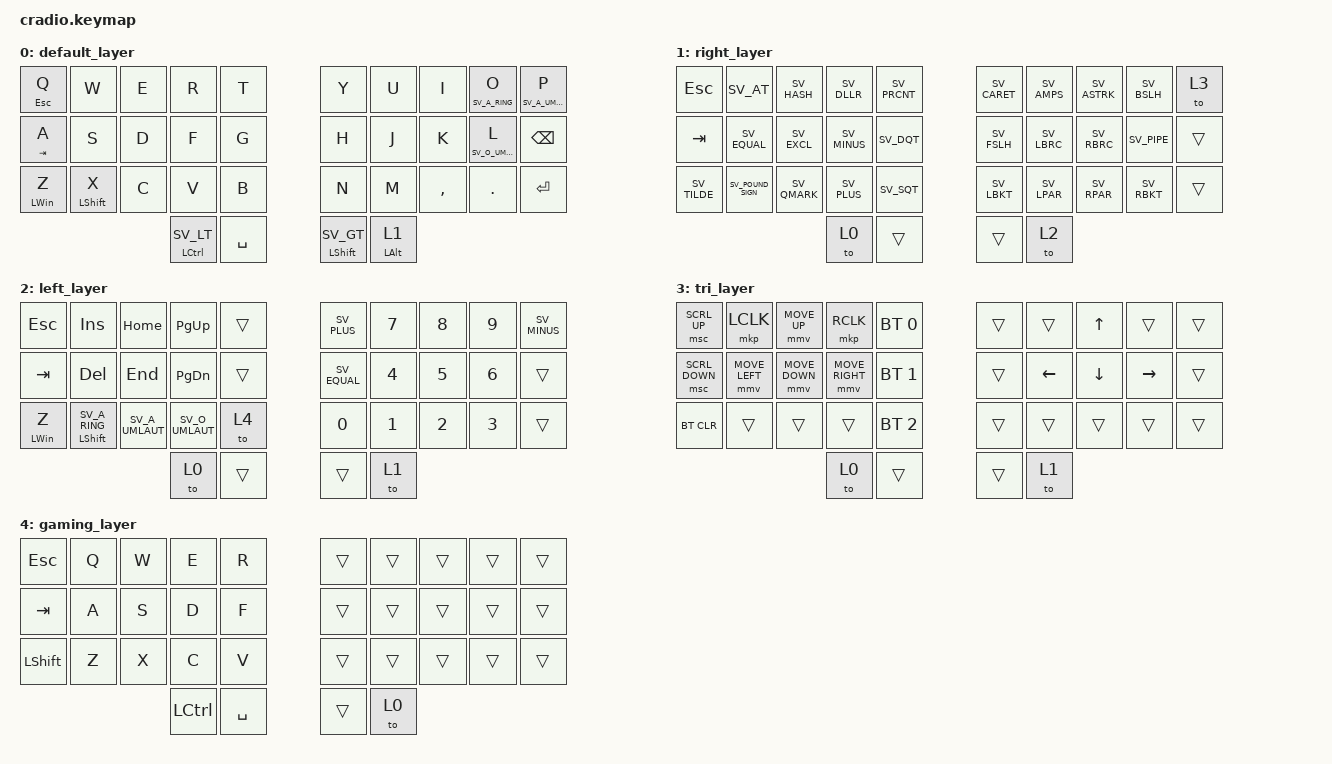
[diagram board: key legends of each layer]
// Copyright (c) 2022 The ZMK Contributors
// SPDX-License-Identifier: MIT

#include "keys_sv.h"
#include <behaviors.dtsi>
#include <input/processors.dtsi>
#include <dt-bindings/zmk/keys.h>
#include <dt-bindings/zmk/bt.h>
#include <dt-bindings/zmk/mouse.h>
#include <dt-bindings/zmk/pointing.h>

/ {
    behaviors {
        ht: tapdance {
            compatible = "zmk,behavior-hold-tap";
            label = "TAPDANCE";
            flavor = "tap-preferred";
            #binding-cells = <2>;
            tapping-term-ms = <150>;
            quick-tap-ms = <0>;
            bindings = <&kp>, <&kp>;
        };
        ll: long_layer {
            compatible = "zmk,behavior-hold-tap";
            label = "LONG_LAYER";
            flavor = "tap-preferred";
            #binding-cells = <2>;
            tapping-term-ms = <150>;
            quick-tap-ms = <0>;
            bindings = <&kp>, <&to>;
        };
    };

    keymap {
        compatible = "zmk,keymap";
        default_layer {
            bindings = <
        //╭────────────┬──────────────┬──────────┬─────────────────┬───────────╮   ╭──────────────────┬──────────┬───────────┬───────────────────┬────────────────────╮
        //│  Q (ESC)   │  W           │  E       │  R              │  T        │   │  Y               │  U       │  I        │  O (Å)            │  P (Ä)             │
            &mt ESC Q    &kp W          &kp E      &kp R             &kp T           &kp Y             &kp U      &kp I       &mt SV_A_RING O      &mt SV_A_UMLAUT P
        //├────────────┼──────────────┼──────────┼─────────────────┼───────────┤   ├──────────────────┼──────────┼───────────┼───────────────────┼────────────────────┤
        //│  A         │  S           │  D       │  F              │  G        │   │  H               │  J       │  K        │  L (Ö)            │                    │
            &mt TAB A    &kp S          &kp D      &kp F             &kp G           &kp H             &kp J      &kp K       &mt SV_O_UMLAUT L      &kp BSPC
        //├────────────┼──────────────┼──────────┼─────────────────┼───────────┤   ├──────────────────┼──────────┼───────────┼───────────────────┼────────────────────┤
        //│  Z         │  X           │  C       │  V              │  B        │   │  N               │  M       │  ,        │  .                │                    │
            &mt LWIN Z   &mt LSHIFT X   &kp C      &kp V             &kp B           &kp N             &kp M      &kp COMMA   &kp DOT                &kp ENTER
        //╰────────────┴──────────────┴──────────┼─────────────────┼───────────┤   ├──────────────────┼──────────┼───────────┴───────────────────┴────────────────────╯
                                                   &mt LCTRL SV_LT   &kp SPACE       &mt LSHIFT SV_GT  &ll LALT 1
        //                                       ╰─────────────────┴───────────╯   ╰──────────────────┴──────────╯
            >;
        };

        right_layer {
            bindings = <
        //╭──────────────┬───────────────────┬──────────────┬──────────────┬──────────────╮   ╭──────────────┬─────────────┬──────────────┬─────────────┬──────────╮
        //│  ESC         │  @                │  #           │  $           │  %           │   │  CARET       │  &          │  *           │  \          │          │
            &kp ESC        &kp SV_AT           &kp SV_HASH    &kp SV_DLLR    &kp SV_PRCNT       &kp SV_CARET   &kp SV_AMPS   &kp SV_ASTRK   &kp SV_BSLH   &to 3
        //├──────────────┼───────────────────┼──────────────┼──────────────┼──────────────┤   ├──────────────┼─────────────┼──────────────┼─────────────┼──────────┤
        //│  TAB         │  =                │  !           │  -           │  "           │   │  /           │  {          │  }           │  |          │          │
            &kp TAB        &kp SV_EQUAL        &kp SV_EXCL    &kp SV_MINUS   &kp SV_DQT         &kp SV_FSLH    &kp SV_LBRC   &kp SV_RBRC    &kp SV_PIPE   &trans
        //├──────────────┼───────────────────┼──────────────┼──────────────┼──────────────┤   ├──────────────┼─────────────┼──────────────┼─────────────┼──────────┤
        //│  ~           │  £                │  ?           │  +           │  '           │   │  [           │  (          │  )           │  ]          │          │
            &kp SV_TILDE   &kp SV_POUND_SIGN   &kp SV_QMARK   &kp SV_PLUS    &kp SV_SQT         &kp SV_LBKT    &kp SV_LPAR   &kp SV_RPAR    &kp SV_RBKT   &trans
        //╰──────────────┴───────────────────┴──────────────┼──────────────┼──────────────┤   ├──────────────┼─────────────┼──────────────┴─────────────┴──────────╯
                                                              &to 0          &trans             &trans         &to 2
        //                                                  ╰──────────────┴──────────────╯   ╰──────────────┴─────────────╯
            >;
        };

        left_layer {
            bindings = <
        //╭────────────┬──────────────────────┬─────────────────┬─────────────────┬──────────╮   ╭──────────────┬──────────┬──────────┬──────────┬──────────────╮
        //│  ESC       │                      │                 │                 │          │   │  +           │  7       │  8       │  9       │  -           │
            &kp ESC      &kp INS                &kp HOME          &kp PG_UP         &trans         &kp SV_PLUS    &kp N7     &kp N8     &kp N9     &kp SV_MINUS
        //├────────────┼──────────────────────┼─────────────────┼─────────────────┼──────────┤   ├──────────────┼──────────┼──────────┼──────────┼──────────────┤
        //│  TAB       │                      │                 │                 │          │   │  =           │  4       │  5       │  6       │              │
            &kp TAB      &kp DEL                &kp END           &kp PG_DN         &trans         &kp SV_EQUAL   &kp N4     &kp N5     &kp N6     &trans
        //├────────────┼──────────────────────┼─────────────────┼─────────────────┼──────────┤   ├──────────────┼──────────┼──────────┼──────────┼──────────────┤
        //│  SUPER     │  Å                   │  Ä              │  Ö              │          │   │  0           │  1       │  2       │  3       │              │
            &mt LWIN Z   &mt LSHIFT SV_A_RING   &kp SV_A_UMLAUT   &kp SV_O_UMLAUT   &to 4          &kp N0         &kp N1     &kp N2     &kp N3     &trans
        //╰────────────┴──────────────────────┴─────────────────┼─────────────────┼──────────┤   ├──────────────┼──────────┼──────────┴──────────┴──────────────╯
                                                                  &to 0             &trans         &trans         &to 1
        //                                                      ╰─────────────────┴──────────╯   ╰──────────────┴──────────╯
            >;
        };

        tri_layer {
            bindings = <
        //╭────────────────┬────────────────┬────────────────┬─────────────────┬──────────────╮   ╭────────┬──────────┬──────────┬───────────┬────────╮
        //│                │                │                │                 │  PROFILE 0   │   │        │          │          │           │        │
            &msc SCRL_UP     &mkp LCLK        &mmv MOVE_UP     &mkp RCLK         &bt BT_SEL 0       &trans   &trans     &kp UP     &trans      &trans
        //├────────────────┼────────────────┼────────────────┼─────────────────┼──────────────┤   ├────────┼──────────┼──────────┼───────────┼────────┤
        //│                │                │                │                 │  PROFILE 1   │   │        │          │          │           │        │
            &msc SCRL_DOWN   &mmv MOVE_LEFT   &mmv MOVE_DOWN   &mmv MOVE_RIGHT   &bt BT_SEL 1       &trans   &kp LEFT   &kp DOWN   &kp RIGHT   &trans
        //├────────────────┼────────────────┼────────────────┼─────────────────┼──────────────┤   ├────────┼──────────┼──────────┼───────────┼────────┤
        //│  CLEAR BT      │                │                │                 │  PROFILE 2   │   │        │          │          │           │        │
            &bt BT_CLR       &trans           &trans           &trans            &bt BT_SEL 2       &trans   &trans     &trans     &trans      &trans
        //╰────────────────┴────────────────┴────────────────┼─────────────────┼──────────────┤   ├────────┼──────────┼──────────┴───────────┴────────╯
                                                               &to 0             &trans             &trans   &to 1
        //                                                   ╰─────────────────┴──────────────╯   ╰────────┴──────────╯
            >;
        };

        gaming_layer {
            bindings = <
        //╭────────────┬────────┬────────┬───────────┬───────────╮   ╭────────┬────────┬────────┬────────┬────────╮
        //│            │        │        │           │           │   │        │        │        │        │        │
            &kp ESC      &kp Q    &kp W    &kp E       &kp R           &trans   &trans   &trans   &trans   &trans
        //├────────────┼────────┼────────┼───────────┼───────────┤   ├────────┼────────┼────────┼────────┼────────┤
        //│            │        │        │           │           │   │        │        │        │        │        │
            &kp TAB      &kp A    &kp S    &kp D       &kp F           &trans   &trans   &trans   &trans   &trans
        //├────────────┼────────┼────────┼───────────┼───────────┤   ├────────┼────────┼────────┼────────┼────────┤
        //│            │        │        │           │           │   │        │        │        │        │        │
            &kp LSHIFT   &kp Z    &kp X    &kp C       &kp V           &trans   &trans   &trans   &trans   &trans
        //╰────────────┴────────┴────────┼───────────┼───────────┤   ├────────┼────────┼────────┴────────┴────────╯
                                           &kp LCTRL   &kp SPACE       &trans   &to 0
        //                               ╰───────────┴───────────╯   ╰────────┴────────╯
            >;
        };
    };
};
